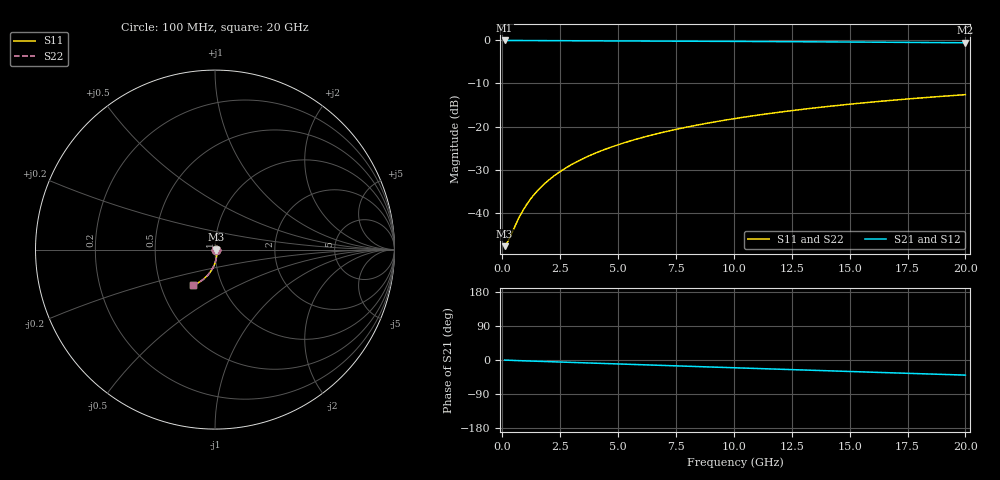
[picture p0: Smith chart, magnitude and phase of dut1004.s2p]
! Touchstone file exported from HFSS 2026.1.0
!  File:  C:/ffzhzh/LocalFiles/Ansys_Project_Files/temp_train_BSMRDL_1004_1783173143_51560.aedt
!  Generated:  09:53:56 PM Jul  4, 2026
!  Design:  BSMRDL
!  Project:  temp_train_BSMRDL_1004_1783173143_51560
! Variables:
!  h_bsmrdl = 2.21um
!  h_ox = 20um
!  h_rdl = 5um
!  h_sub = 80um
!  h_tmrdl = 5um
!  h_tsv = 80um
!  h_via = 3um
!  l_bsmrdl = 633.87um
!  l_sub = 1033.87um
!  l_tmrdl = 200um
!  m_sub = 200um
!  pitch = 28.97um
!  r_tsv = 6um
!  s_tmrdl = 10um
!  w_bsmrdl = 27.95um
!  w_sub = 500um
!  w_tmrdl = 12um
!  x_tsv_center1 = 206um
!  x_tsv_center2 = 867.82um
!  x_tsv_center3 = 1079.82um
!  x_tsv_center4 = 1741.64um
!  x_tsv_center5 = 1953.64um
!  x_tsv_center6 = 2615.46um
# GHz S MA R 50.000000
! Terminal data exported
! Port[1] = BSM_RDL1_1_T1
! Port[2] = BSM_RDL1_1_T2
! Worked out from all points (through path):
!   200 points, 100 MHz to 20 GHz, reference 50 ohm
!   highest |S21| = -0.04 dB at 100 MHz (marker M1); lowest = -0.6 dB at 20 GHz (marker M2)
!   group delay of S21, straight-line fit = 5.52 ps
!   lowest |S11| = -47.7 dB at 100 MHz (marker M3), VSWR 1.01, Z = 50.4 - j0.0291 ohm
!   |S11| at or under -10 dB: start of sweep to end of sweep
!   |S22| runs from -47.7 to -12.6 dB; largest |S21 - S12| = 2.8e-14
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0.1  0.004113 -4.0  0.9959 -0.3  0.9959 -0.3  0.004113 -4.0
! Gamma 0 0 0 0
! Port Impedance 50 0 50 0
0.2  0.004471 -8.5  0.9956 -0.5  0.9956 -0.5  0.004471 -8.5
0.3  0.005032 -13.4  0.9951 -0.8  0.9951 -0.8  0.005033 -13.4
0.6  0.00756 -29.0  0.9933 -1.5  0.9933 -1.5  0.00756 -29.0
0.8  0.009649 -38.0  0.9922 -1.9  0.9922 -1.9  0.009649 -38.0
0.9  0.01076 -41.8  0.9918 -2.1  0.9918 -2.1  0.01076 -41.8
1.2  0.01422 -51.2  0.9906 -2.7  0.9906 -2.7  0.01422 -51.2
1.5  0.01781 -58.0  0.9897 -3.3  0.9897 -3.3  0.01781 -58.0
1.9  0.02269 -64.7  0.9887 -4.1  0.9887 -4.1  0.02269 -64.6
2.4  0.02889 -70.6  0.9876 -5.2  0.9876 -5.2  0.02889 -70.5
2.9  0.03514 -74.9  0.9867 -6.2  0.9867 -6.2  0.03514 -74.9
3.5  0.04269 -79.0  0.9856 -7.4  0.9856 -7.4  0.04269 -79.0
4.2  0.05151 -82.8  0.9844 -8.8  0.9844 -8.8  0.05152 -82.8
5  0.06159 -86.3  0.983 -10.4  0.983 -10.4  0.0616 -86.3
5.9  0.07289 -89.6  0.9813 -12.2  0.9813 -12.2  0.0729 -89.6
6.8  0.08413 -92.6  0.9795 -14.1  0.9795 -14.1  0.08414 -92.5
8.3  0.1027 -96.8  0.976 -17.1  0.976 -17.1  0.1027 -96.8
10.1  0.1246 -101.3  0.9713 -20.7  0.9713 -20.7  0.1246 -101.3
11.7  0.1437 -105.0  0.9665 -23.9  0.9665 -23.9  0.1437 -105.0
13.4  0.1636 -108.8  0.961 -27.2  0.961 -27.2  0.1636 -108.7
16.7  0.2004 -115.6  0.949 -33.6  0.949 -33.6  0.2004 -115.6
20  0.2345 -122.2  0.9361 -39.9  0.9361 -39.9  0.2345 -122.1
